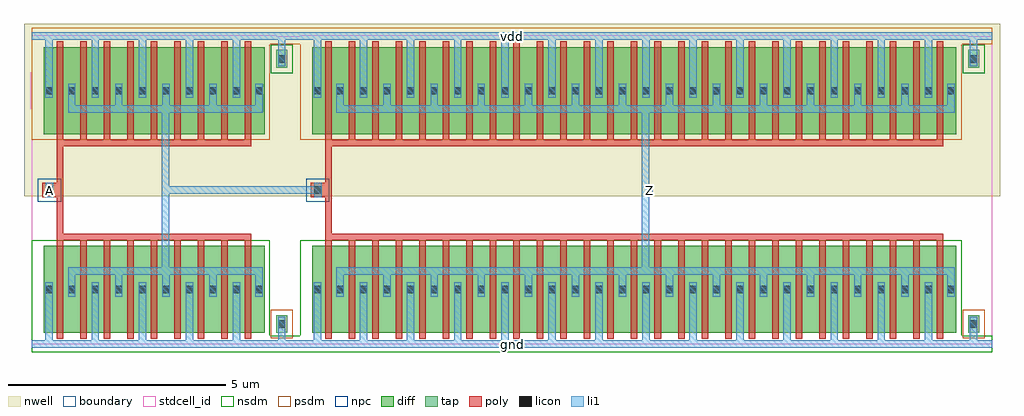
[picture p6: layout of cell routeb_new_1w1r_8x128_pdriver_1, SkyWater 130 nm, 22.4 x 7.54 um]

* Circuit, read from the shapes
.subckt routeb_new_1w1r_8x128_pdriver_1 A Z gnd vdd
XM1 routeb_new_1w1r_8x128_pinv_8_1/A A gnd gnd sky130_fd_pr__nfet_01v8 w=2 l=0.15 m=9
XM2 Z routeb_new_1w1r_8x128_pinv_8_1/A gnd gnd sky130_fd_pr__nfet_01v8 w=2 l=0.15 m=27
XM3 routeb_new_1w1r_8x128_pinv_8_1/A A vdd vdd sky130_fd_pr__pfet_01v8 w=2 l=0.15 m=9
XM4 Z routeb_new_1w1r_8x128_pinv_8_1/A vdd vdd sky130_fd_pr__pfet_01v8 w=2 l=0.15 m=27
.ends

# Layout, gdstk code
import gdstk
lib = gdstk.Library(unit=1e-6, precision=1e-09)
def R(c, l, rs):  # rectangles x0, y0, x1, y1
    for r in rs: c.add(gdstk.rectangle(r[:2], r[2:], *l))
def A(c, l, x, y, w, h, nx, ny, dx, dy):  # array of equal rectangles
    R(c, l, [(x+i*dx, y+j*dy, x+i*dx+w, y+j*dy+h) for i in range(nx) for j in range(ny)])
nwell = (64, 20)
diff = (65, 20)
tap = (65, 44)
poly = (66, 20)
licon = (66, 44)
li1 = (67, 20)
stdcell_id = (81, 4)
nsdm = (93, 44)
psdm = (94, 20)
npc = (95, 20)
boundary = (235, 4)

routeb_new_1w1r_8x128_co = lib.new_cell('routeb_new_1w1r_8x128_contact_11')
R(routeb_new_1w1r_8x128_co, nwell, [(-0.295,-0.255,0.545,0.585)])
R(routeb_new_1w1r_8x128_co, diff, [(0,0.02,0.25,0.31)])
R(routeb_new_1w1r_8x128_co, licon, [(0.04,0.08,0.21,0.25)])
R(routeb_new_1w1r_8x128_co, li1, [(0.04,0,0.21,0.33)])
R(routeb_new_1w1r_8x128_co, stdcell_id, [(-0.295,-0.255,0.545,0.585)])
R(routeb_new_1w1r_8x128_co, psdm, [(-0.125,-0.105,0.375,0.435)])
R(routeb_new_1w1r_8x128_co, boundary, [(-0.295,-0.255,0.545,0.585)])

routeb_new_1w1r_8x128_pm = lib.new_cell('routeb_new_1w1r_8x128_pmos_m9_w2_000_sli_dli_da_p')
R(routeb_new_1w1r_8x128_pm, nwell, [(-0.27,-0.27,5.34,2.27)])
R(routeb_new_1w1r_8x128_pm, diff, [(0,0,5.07,2)])
A(routeb_new_1w1r_8x128_pm, poly, 0.3, -0.13, 0.15, 2.26, 9, 1, 0.54, 0)
R(routeb_new_1w1r_8x128_pm, poly, [(0.3,-0.28,4.77,-0.13)])
A(routeb_new_1w1r_8x128_pm, li1, 0.56, 0.58, 0.17, 0.42, 4, 1, 1.08, 0)
A(routeb_new_1w1r_8x128_pm, li1, 1.1, 0.835, 0.17, 0.33, 4, 1, 1.08, 0)
R(routeb_new_1w1r_8x128_pm, li1, [(0.56,0.495,5.03,0.665), (4.86,0.58,5.03,1), (0.04,0.835,0.21,1.165)])
R(routeb_new_1w1r_8x128_pm, stdcell_id, [(-0.27,-0.28,5.34,2.27)])
R(routeb_new_1w1r_8x128_pm, psdm, [(-0.125,-0.125,5.195,2.125)])
R(routeb_new_1w1r_8x128_pm, boundary, [(-0.27,-0.28,5.34,2.27)])
routeb_new_1w1r_8x128_pm.add(gdstk.Reference(routeb_new_1w1r_8x128_co, (0,0.835)))
routeb_new_1w1r_8x128_pm.add(gdstk.Reference(routeb_new_1w1r_8x128_co, (0.52,0.835)))
routeb_new_1w1r_8x128_pm.add(gdstk.Reference(routeb_new_1w1r_8x128_co, (1.06,0.835)))
routeb_new_1w1r_8x128_pm.add(gdstk.Reference(routeb_new_1w1r_8x128_co, (1.6,0.835)))
routeb_new_1w1r_8x128_pm.add(gdstk.Reference(routeb_new_1w1r_8x128_co, (2.14,0.835)))
routeb_new_1w1r_8x128_pm.add(gdstk.Reference(routeb_new_1w1r_8x128_co, (2.68,0.835)))
routeb_new_1w1r_8x128_pm.add(gdstk.Reference(routeb_new_1w1r_8x128_co, (3.22,0.835)))
routeb_new_1w1r_8x128_pm.add(gdstk.Reference(routeb_new_1w1r_8x128_co, (3.76,0.835)))
routeb_new_1w1r_8x128_pm.add(gdstk.Reference(routeb_new_1w1r_8x128_co, (4.3,0.835)))
routeb_new_1w1r_8x128_pm.add(gdstk.Reference(routeb_new_1w1r_8x128_co, (4.82,0.835)))
routeb_new_1w1r_8x128_pm.add(gdstk.Label('G', (2.535,-0.205), layer=66, texttype=5))
routeb_new_1w1r_8x128_pm.add(gdstk.Label('S', (0.125,1), layer=67, texttype=5))
routeb_new_1w1r_8x128_pm.add(gdstk.Label('S', (2.265,1), layer=67, texttype=5))
routeb_new_1w1r_8x128_pm.add(gdstk.Label('S', (3.345,1), layer=67, texttype=5))
routeb_new_1w1r_8x128_pm.add(gdstk.Label('S', (1.185,1), layer=67, texttype=5))
routeb_new_1w1r_8x128_pm.add(gdstk.Label('S', (4.425,1), layer=67, texttype=5))
routeb_new_1w1r_8x128_pm.add(gdstk.Label('D', (2.795,0.58), layer=67, texttype=5))

c_routeb_new_1w1r_8x128_co = lib.new_cell('routeb_new_1w1r_8x128_contact_10')
R(c_routeb_new_1w1r_8x128_co, diff, [(0,0.02,0.25,0.31)])
R(c_routeb_new_1w1r_8x128_co, licon, [(0.04,0.08,0.21,0.25)])
R(c_routeb_new_1w1r_8x128_co, li1, [(0.04,0,0.21,0.33)])
R(c_routeb_new_1w1r_8x128_co, stdcell_id, [(-0.125,-0.105,0.375,0.435)])
R(c_routeb_new_1w1r_8x128_co, nsdm, [(-0.125,-0.105,0.375,0.435)])
R(c_routeb_new_1w1r_8x128_co, boundary, [(-0.125,-0.105,0.375,0.435)])

routeb_new_1w1r_8x128_nm = lib.new_cell('routeb_new_1w1r_8x128_nmos_m9_w2_000_sli_dli_da_p')
R(routeb_new_1w1r_8x128_nm, diff, [(0,0,5.07,2)])
A(routeb_new_1w1r_8x128_nm, poly, 0.3, -0.13, 0.15, 2.26, 9, 1, 0.54, 0)
R(routeb_new_1w1r_8x128_nm, poly, [(0.3,2.13,4.77,2.28)])
A(routeb_new_1w1r_8x128_nm, li1, 1.1, 0.835, 0.17, 0.33, 4, 1, 1.08, 0)
A(routeb_new_1w1r_8x128_nm, li1, 0.56, 1, 0.17, 0.42, 4, 1, 1.08, 0)
R(routeb_new_1w1r_8x128_nm, li1, [(0.04,0.835,0.21,1.165), (4.86,1,5.03,1.42), (0.56,1.335,5.03,1.505)])
R(routeb_new_1w1r_8x128_nm, stdcell_id, [(-0.125,-0.13,5.195,2.28)])
R(routeb_new_1w1r_8x128_nm, nsdm, [(-0.125,-0.125,5.195,2.125)])
R(routeb_new_1w1r_8x128_nm, boundary, [(-0.125,-0.13,5.195,2.28)])
routeb_new_1w1r_8x128_nm.add(gdstk.Reference(c_routeb_new_1w1r_8x128_co, (0,0.835)))
routeb_new_1w1r_8x128_nm.add(gdstk.Reference(c_routeb_new_1w1r_8x128_co, (0.52,0.835)))
routeb_new_1w1r_8x128_nm.add(gdstk.Reference(c_routeb_new_1w1r_8x128_co, (1.06,0.835)))
routeb_new_1w1r_8x128_nm.add(gdstk.Reference(c_routeb_new_1w1r_8x128_co, (1.6,0.835)))
routeb_new_1w1r_8x128_nm.add(gdstk.Reference(c_routeb_new_1w1r_8x128_co, (2.14,0.835)))
routeb_new_1w1r_8x128_nm.add(gdstk.Reference(c_routeb_new_1w1r_8x128_co, (2.68,0.835)))
routeb_new_1w1r_8x128_nm.add(gdstk.Reference(c_routeb_new_1w1r_8x128_co, (3.22,0.835)))
routeb_new_1w1r_8x128_nm.add(gdstk.Reference(c_routeb_new_1w1r_8x128_co, (3.76,0.835)))
routeb_new_1w1r_8x128_nm.add(gdstk.Reference(c_routeb_new_1w1r_8x128_co, (4.3,0.835)))
routeb_new_1w1r_8x128_nm.add(gdstk.Reference(c_routeb_new_1w1r_8x128_co, (4.82,0.835)))
routeb_new_1w1r_8x128_nm.add(gdstk.Label('G', (2.535,2.205), layer=66, texttype=5))
routeb_new_1w1r_8x128_nm.add(gdstk.Label('S', (0.125,1), layer=67, texttype=5))
routeb_new_1w1r_8x128_nm.add(gdstk.Label('S', (2.265,1), layer=67, texttype=5))
routeb_new_1w1r_8x128_nm.add(gdstk.Label('S', (3.345,1), layer=67, texttype=5))
routeb_new_1w1r_8x128_nm.add(gdstk.Label('S', (1.185,1), layer=67, texttype=5))
routeb_new_1w1r_8x128_nm.add(gdstk.Label('S', (4.425,1), layer=67, texttype=5))
routeb_new_1w1r_8x128_nm.add(gdstk.Label('D', (2.795,1.42), layer=67, texttype=5))

c_routeb_new_1w1r_8x128_co_ = lib.new_cell('routeb_new_1w1r_8x128_contact_24')
R(c_routeb_new_1w1r_8x128_co_, nwell, [(-0.295,-0.215,0.545,0.625)])
R(c_routeb_new_1w1r_8x128_co_, tap, [(0,0,0.25,0.41)])
R(c_routeb_new_1w1r_8x128_co_, licon, [(0.04,0.12,0.21,0.29)])
R(c_routeb_new_1w1r_8x128_co_, li1, [(0.04,0.04,0.21,0.37)])
R(c_routeb_new_1w1r_8x128_co_, stdcell_id, [(-0.295,-0.215,0.545,0.625)])
R(c_routeb_new_1w1r_8x128_co_, nsdm, [(-0.125,-0.125,0.375,0.535)])
R(c_routeb_new_1w1r_8x128_co_, boundary, [(-0.295,-0.215,0.545,0.625)])

c_routeb_new_1w1r_8x128_co__ = lib.new_cell('routeb_new_1w1r_8x128_contact_25')
R(c_routeb_new_1w1r_8x128_co__, tap, [(0,0,0.25,0.41)])
R(c_routeb_new_1w1r_8x128_co__, licon, [(0.04,0.12,0.21,0.29)])
R(c_routeb_new_1w1r_8x128_co__, li1, [(0.04,0.04,0.21,0.37)])
R(c_routeb_new_1w1r_8x128_co__, stdcell_id, [(-0.125,-0.125,0.375,0.535)])
R(c_routeb_new_1w1r_8x128_co__, psdm, [(-0.125,-0.125,0.375,0.535)])
R(c_routeb_new_1w1r_8x128_co__, boundary, [(-0.125,-0.125,0.375,0.535)])

c_routeb_new_1w1r_8x128_co___ = lib.new_cell('routeb_new_1w1r_8x128_contact_15')
R(c_routeb_new_1w1r_8x128_co___, poly, [(0,0,0.33,0.33)])
R(c_routeb_new_1w1r_8x128_co___, licon, [(0.08,0.08,0.25,0.25)])
R(c_routeb_new_1w1r_8x128_co___, li1, [(0.08,0,0.25,0.33)])
R(c_routeb_new_1w1r_8x128_co___, stdcell_id, [(-0.1,-0.1,0.43,0.43)])
R(c_routeb_new_1w1r_8x128_co___, npc, [(-0.1,-0.1,0.43,0.43)])
R(c_routeb_new_1w1r_8x128_co___, boundary, [(-0.1,-0.1,0.43,0.43)])

routeb_new_1w1r_8x128_pi = lib.new_cell('routeb_new_1w1r_8x128_pinv_7')
R(routeb_new_1w1r_8x128_pi, nwell, [(-0.18,3.395,6.34,7.355)])
R(routeb_new_1w1r_8x128_pi, poly, [(0.57,2.535,0.72,4.535), (0.405,3.37,0.57,3.7)])
A(routeb_new_1w1r_8x128_pi, li1, 1.37, -0.085, 0.17, 1.175, 4, 1, 1.08, 0)
A(routeb_new_1w1r_8x128_pi, li1, 1.37, 5.65, 0.17, 1.505, 4, 1, 1.08, 0)
R(routeb_new_1w1r_8x128_pi, li1, [(0,-0.085,6.16,0.085), (0.31,-0.085,0.48,1.09), (5.65,0,5.82,0.46), (2.98,1.59,3.15,5.48), (0.32,3.37,0.49,3.7), (3.065,3.45,3.235,3.62), (0.31,5.65,0.48,7.155), (5.65,6.545,5.82,7.07), (0,6.985,6.16,7.155)])
R(routeb_new_1w1r_8x128_pi, stdcell_id, [(0,0,6.16,7.07), (0,0,6.16,7.07)])
R(routeb_new_1w1r_8x128_pi, nsdm, [(0,-0.19,6.16,0.19), (0,0,5.465,2.38)])
R(routeb_new_1w1r_8x128_pi, psdm, [(0,4.69,5.465,7.07), (0,6.88,6.16,7.26)])
R(routeb_new_1w1r_8x128_pi, boundary, [(0,0,6.16,7.07), (0,0,6.16,7.07)])
routeb_new_1w1r_8x128_pi.add(gdstk.Reference(routeb_new_1w1r_8x128_pm, (0.27,4.815)))
routeb_new_1w1r_8x128_pi.add(gdstk.Reference(routeb_new_1w1r_8x128_nm, (0.27,0.255)))
routeb_new_1w1r_8x128_pi.add(gdstk.Reference(c_routeb_new_1w1r_8x128_co_, (5.61,6.34)))
routeb_new_1w1r_8x128_pi.add(gdstk.Reference(c_routeb_new_1w1r_8x128_co__, (5.61,0.255)))
routeb_new_1w1r_8x128_pi.add(gdstk.Reference(c_routeb_new_1w1r_8x128_co___, (0.24,3.37)))
routeb_new_1w1r_8x128_pi.add(gdstk.Label('A', (0.405,3.535), layer=67, texttype=5))
routeb_new_1w1r_8x128_pi.add(gdstk.Label('Z', (3.15,3.535), layer=67, texttype=5))
routeb_new_1w1r_8x128_pi.add(gdstk.Label('gnd', (3.08,0), layer=67, texttype=5))
routeb_new_1w1r_8x128_pi.add(gdstk.Label('vdd', (3.08,7.07), layer=67, texttype=5))

c_routeb_new_1w1r_8x128_pm = lib.new_cell('routeb_new_1w1r_8x128_pmos_m27_w2_000_sli_dli_da_p')
R(c_routeb_new_1w1r_8x128_pm, nwell, [(-0.27,-0.27,15.06,2.27)])
R(c_routeb_new_1w1r_8x128_pm, diff, [(0,0,14.79,2)])
A(c_routeb_new_1w1r_8x128_pm, poly, 0.3, -0.13, 0.15, 2.26, 27, 1, 0.54, 0)
R(c_routeb_new_1w1r_8x128_pm, poly, [(0.3,-0.28,14.49,-0.13)])
A(c_routeb_new_1w1r_8x128_pm, li1, 0.56, 0.58, 0.17, 0.42, 13, 1, 1.08, 0)
A(c_routeb_new_1w1r_8x128_pm, li1, 1.1, 0.835, 0.17, 0.33, 13, 1, 1.08, 0)
R(c_routeb_new_1w1r_8x128_pm, li1, [(0.56,0.495,14.75,0.665), (14.58,0.58,14.75,1), (0.04,0.835,0.21,1.165)])
R(c_routeb_new_1w1r_8x128_pm, stdcell_id, [(-0.27,-0.28,15.06,2.27)])
R(c_routeb_new_1w1r_8x128_pm, psdm, [(-0.125,-0.125,14.915,2.125)])
R(c_routeb_new_1w1r_8x128_pm, boundary, [(-0.27,-0.28,15.06,2.27)])
c_routeb_new_1w1r_8x128_pm.add(gdstk.Reference(routeb_new_1w1r_8x128_co, (0,0.835)))
c_routeb_new_1w1r_8x128_pm.add(gdstk.Reference(routeb_new_1w1r_8x128_co, (0.52,0.835)))
c_routeb_new_1w1r_8x128_pm.add(gdstk.Reference(routeb_new_1w1r_8x128_co, (1.06,0.835)))
c_routeb_new_1w1r_8x128_pm.add(gdstk.Reference(routeb_new_1w1r_8x128_co, (1.6,0.835)))
c_routeb_new_1w1r_8x128_pm.add(gdstk.Reference(routeb_new_1w1r_8x128_co, (2.14,0.835)))
c_routeb_new_1w1r_8x128_pm.add(gdstk.Reference(routeb_new_1w1r_8x128_co, (2.68,0.835)))
c_routeb_new_1w1r_8x128_pm.add(gdstk.Reference(routeb_new_1w1r_8x128_co, (3.22,0.835)))
c_routeb_new_1w1r_8x128_pm.add(gdstk.Reference(routeb_new_1w1r_8x128_co, (3.76,0.835)))
c_routeb_new_1w1r_8x128_pm.add(gdstk.Reference(routeb_new_1w1r_8x128_co, (4.3,0.835)))
c_routeb_new_1w1r_8x128_pm.add(gdstk.Reference(routeb_new_1w1r_8x128_co, (4.84,0.835)))
c_routeb_new_1w1r_8x128_pm.add(gdstk.Reference(routeb_new_1w1r_8x128_co, (5.38,0.835)))
c_routeb_new_1w1r_8x128_pm.add(gdstk.Reference(routeb_new_1w1r_8x128_co, (5.92,0.835)))
c_routeb_new_1w1r_8x128_pm.add(gdstk.Reference(routeb_new_1w1r_8x128_co, (6.46,0.835)))
c_routeb_new_1w1r_8x128_pm.add(gdstk.Reference(routeb_new_1w1r_8x128_co, (7,0.835)))
c_routeb_new_1w1r_8x128_pm.add(gdstk.Reference(routeb_new_1w1r_8x128_co, (7.54,0.835)))
c_routeb_new_1w1r_8x128_pm.add(gdstk.Reference(routeb_new_1w1r_8x128_co, (8.08,0.835)))
c_routeb_new_1w1r_8x128_pm.add(gdstk.Reference(routeb_new_1w1r_8x128_co, (8.62,0.835)))
c_routeb_new_1w1r_8x128_pm.add(gdstk.Reference(routeb_new_1w1r_8x128_co, (9.16,0.835)))
c_routeb_new_1w1r_8x128_pm.add(gdstk.Reference(routeb_new_1w1r_8x128_co, (9.7,0.835)))
c_routeb_new_1w1r_8x128_pm.add(gdstk.Reference(routeb_new_1w1r_8x128_co, (10.24,0.835)))
c_routeb_new_1w1r_8x128_pm.add(gdstk.Reference(routeb_new_1w1r_8x128_co, (10.78,0.835)))
c_routeb_new_1w1r_8x128_pm.add(gdstk.Reference(routeb_new_1w1r_8x128_co, (11.32,0.835)))
c_routeb_new_1w1r_8x128_pm.add(gdstk.Reference(routeb_new_1w1r_8x128_co, (11.86,0.835)))
c_routeb_new_1w1r_8x128_pm.add(gdstk.Reference(routeb_new_1w1r_8x128_co, (12.4,0.835)))
c_routeb_new_1w1r_8x128_pm.add(gdstk.Reference(routeb_new_1w1r_8x128_co, (12.94,0.835)))
c_routeb_new_1w1r_8x128_pm.add(gdstk.Reference(routeb_new_1w1r_8x128_co, (13.48,0.835)))
c_routeb_new_1w1r_8x128_pm.add(gdstk.Reference(routeb_new_1w1r_8x128_co, (14.02,0.835)))
c_routeb_new_1w1r_8x128_pm.add(gdstk.Reference(routeb_new_1w1r_8x128_co, (14.54,0.835)))
c_routeb_new_1w1r_8x128_pm.add(gdstk.Label('G', (7.395,-0.205), layer=66, texttype=5))
c_routeb_new_1w1r_8x128_pm.add(gdstk.Label('S', (0.125,1), layer=67, texttype=5))
c_routeb_new_1w1r_8x128_pm.add(gdstk.Label('S', (13.065,1), layer=67, texttype=5))
c_routeb_new_1w1r_8x128_pm.add(gdstk.Label('S', (2.265,1), layer=67, texttype=5))
c_routeb_new_1w1r_8x128_pm.add(gdstk.Label('S', (5.505,1), layer=67, texttype=5))
c_routeb_new_1w1r_8x128_pm.add(gdstk.Label('S', (7.665,1), layer=67, texttype=5))
c_routeb_new_1w1r_8x128_pm.add(gdstk.Label('S', (9.825,1), layer=67, texttype=5))
c_routeb_new_1w1r_8x128_pm.add(gdstk.Label('S', (6.585,1), layer=67, texttype=5))
c_routeb_new_1w1r_8x128_pm.add(gdstk.Label('S', (10.905,1), layer=67, texttype=5))
c_routeb_new_1w1r_8x128_pm.add(gdstk.Label('S', (14.145,1), layer=67, texttype=5))
c_routeb_new_1w1r_8x128_pm.add(gdstk.Label('S', (8.745,1), layer=67, texttype=5))
c_routeb_new_1w1r_8x128_pm.add(gdstk.Label('S', (3.345,1), layer=67, texttype=5))
c_routeb_new_1w1r_8x128_pm.add(gdstk.Label('S', (11.985,1), layer=67, texttype=5))
c_routeb_new_1w1r_8x128_pm.add(gdstk.Label('S', (1.185,1), layer=67, texttype=5))
c_routeb_new_1w1r_8x128_pm.add(gdstk.Label('S', (4.425,1), layer=67, texttype=5))
c_routeb_new_1w1r_8x128_pm.add(gdstk.Label('D', (7.655,0.58), layer=67, texttype=5))

c_routeb_new_1w1r_8x128_nm = lib.new_cell('routeb_new_1w1r_8x128_nmos_m27_w2_000_sli_dli_da_p')
R(c_routeb_new_1w1r_8x128_nm, diff, [(0,0,14.79,2)])
A(c_routeb_new_1w1r_8x128_nm, poly, 0.3, -0.13, 0.15, 2.26, 27, 1, 0.54, 0)
R(c_routeb_new_1w1r_8x128_nm, poly, [(0.3,2.13,14.49,2.28)])
A(c_routeb_new_1w1r_8x128_nm, li1, 1.1, 0.835, 0.17, 0.33, 13, 1, 1.08, 0)
A(c_routeb_new_1w1r_8x128_nm, li1, 0.56, 1, 0.17, 0.42, 13, 1, 1.08, 0)
R(c_routeb_new_1w1r_8x128_nm, li1, [(0.04,0.835,0.21,1.165), (14.58,1,14.75,1.42), (0.56,1.335,14.75,1.505)])
R(c_routeb_new_1w1r_8x128_nm, stdcell_id, [(-0.125,-0.13,14.915,2.28)])
R(c_routeb_new_1w1r_8x128_nm, nsdm, [(-0.125,-0.125,14.915,2.125)])
R(c_routeb_new_1w1r_8x128_nm, boundary, [(-0.125,-0.13,14.915,2.28)])
c_routeb_new_1w1r_8x128_nm.add(gdstk.Reference(c_routeb_new_1w1r_8x128_co, (0,0.835)))
c_routeb_new_1w1r_8x128_nm.add(gdstk.Reference(c_routeb_new_1w1r_8x128_co, (0.52,0.835)))
c_routeb_new_1w1r_8x128_nm.add(gdstk.Reference(c_routeb_new_1w1r_8x128_co, (1.06,0.835)))
c_routeb_new_1w1r_8x128_nm.add(gdstk.Reference(c_routeb_new_1w1r_8x128_co, (1.6,0.835)))
c_routeb_new_1w1r_8x128_nm.add(gdstk.Reference(c_routeb_new_1w1r_8x128_co, (2.14,0.835)))
c_routeb_new_1w1r_8x128_nm.add(gdstk.Reference(c_routeb_new_1w1r_8x128_co, (2.68,0.835)))
c_routeb_new_1w1r_8x128_nm.add(gdstk.Reference(c_routeb_new_1w1r_8x128_co, (3.22,0.835)))
c_routeb_new_1w1r_8x128_nm.add(gdstk.Reference(c_routeb_new_1w1r_8x128_co, (3.76,0.835)))
c_routeb_new_1w1r_8x128_nm.add(gdstk.Reference(c_routeb_new_1w1r_8x128_co, (4.3,0.835)))
c_routeb_new_1w1r_8x128_nm.add(gdstk.Reference(c_routeb_new_1w1r_8x128_co, (4.84,0.835)))
c_routeb_new_1w1r_8x128_nm.add(gdstk.Reference(c_routeb_new_1w1r_8x128_co, (5.38,0.835)))
c_routeb_new_1w1r_8x128_nm.add(gdstk.Reference(c_routeb_new_1w1r_8x128_co, (5.92,0.835)))
c_routeb_new_1w1r_8x128_nm.add(gdstk.Reference(c_routeb_new_1w1r_8x128_co, (6.46,0.835)))
c_routeb_new_1w1r_8x128_nm.add(gdstk.Reference(c_routeb_new_1w1r_8x128_co, (7,0.835)))
c_routeb_new_1w1r_8x128_nm.add(gdstk.Reference(c_routeb_new_1w1r_8x128_co, (7.54,0.835)))
c_routeb_new_1w1r_8x128_nm.add(gdstk.Reference(c_routeb_new_1w1r_8x128_co, (8.08,0.835)))
c_routeb_new_1w1r_8x128_nm.add(gdstk.Reference(c_routeb_new_1w1r_8x128_co, (8.62,0.835)))
c_routeb_new_1w1r_8x128_nm.add(gdstk.Reference(c_routeb_new_1w1r_8x128_co, (9.16,0.835)))
c_routeb_new_1w1r_8x128_nm.add(gdstk.Reference(c_routeb_new_1w1r_8x128_co, (9.7,0.835)))
c_routeb_new_1w1r_8x128_nm.add(gdstk.Reference(c_routeb_new_1w1r_8x128_co, (10.24,0.835)))
c_routeb_new_1w1r_8x128_nm.add(gdstk.Reference(c_routeb_new_1w1r_8x128_co, (10.78,0.835)))
c_routeb_new_1w1r_8x128_nm.add(gdstk.Reference(c_routeb_new_1w1r_8x128_co, (11.32,0.835)))
c_routeb_new_1w1r_8x128_nm.add(gdstk.Reference(c_routeb_new_1w1r_8x128_co, (11.86,0.835)))
c_routeb_new_1w1r_8x128_nm.add(gdstk.Reference(c_routeb_new_1w1r_8x128_co, (12.4,0.835)))
c_routeb_new_1w1r_8x128_nm.add(gdstk.Reference(c_routeb_new_1w1r_8x128_co, (12.94,0.835)))
c_routeb_new_1w1r_8x128_nm.add(gdstk.Reference(c_routeb_new_1w1r_8x128_co, (13.48,0.835)))
c_routeb_new_1w1r_8x128_nm.add(gdstk.Reference(c_routeb_new_1w1r_8x128_co, (14.02,0.835)))
c_routeb_new_1w1r_8x128_nm.add(gdstk.Reference(c_routeb_new_1w1r_8x128_co, (14.54,0.835)))
c_routeb_new_1w1r_8x128_nm.add(gdstk.Label('G', (7.395,2.205), layer=66, texttype=5))
c_routeb_new_1w1r_8x128_nm.add(gdstk.Label('S', (0.125,1), layer=67, texttype=5))
c_routeb_new_1w1r_8x128_nm.add(gdstk.Label('S', (13.065,1), layer=67, texttype=5))
c_routeb_new_1w1r_8x128_nm.add(gdstk.Label('S', (2.265,1), layer=67, texttype=5))
c_routeb_new_1w1r_8x128_nm.add(gdstk.Label('S', (5.505,1), layer=67, texttype=5))
c_routeb_new_1w1r_8x128_nm.add(gdstk.Label('S', (7.665,1), layer=67, texttype=5))
c_routeb_new_1w1r_8x128_nm.add(gdstk.Label('S', (9.825,1), layer=67, texttype=5))
c_routeb_new_1w1r_8x128_nm.add(gdstk.Label('S', (6.585,1), layer=67, texttype=5))
c_routeb_new_1w1r_8x128_nm.add(gdstk.Label('S', (10.905,1), layer=67, texttype=5))
c_routeb_new_1w1r_8x128_nm.add(gdstk.Label('S', (14.145,1), layer=67, texttype=5))
c_routeb_new_1w1r_8x128_nm.add(gdstk.Label('S', (8.745,1), layer=67, texttype=5))
c_routeb_new_1w1r_8x128_nm.add(gdstk.Label('S', (3.345,1), layer=67, texttype=5))
c_routeb_new_1w1r_8x128_nm.add(gdstk.Label('S', (11.985,1), layer=67, texttype=5))
c_routeb_new_1w1r_8x128_nm.add(gdstk.Label('S', (1.185,1), layer=67, texttype=5))
c_routeb_new_1w1r_8x128_nm.add(gdstk.Label('S', (4.425,1), layer=67, texttype=5))
c_routeb_new_1w1r_8x128_nm.add(gdstk.Label('D', (7.655,1.42), layer=67, texttype=5))

c_routeb_new_1w1r_8x128_pi = lib.new_cell('routeb_new_1w1r_8x128_pinv_8')
R(c_routeb_new_1w1r_8x128_pi, nwell, [(-0.18,3.395,16.06,7.355)])
R(c_routeb_new_1w1r_8x128_pi, poly, [(0.57,2.535,0.72,4.535), (0.405,3.37,0.57,3.7)])
A(c_routeb_new_1w1r_8x128_pi, li1, 1.37, -0.085, 0.17, 1.175, 13, 1, 1.08, 0)
A(c_routeb_new_1w1r_8x128_pi, li1, 1.37, 5.65, 0.17, 1.505, 13, 1, 1.08, 0)
R(c_routeb_new_1w1r_8x128_pi, li1, [(0,-0.085,15.88,0.085), (0.31,-0.085,0.48,1.09), (15.37,0,15.54,0.46), (7.84,1.59,8.01,5.48), (0.32,3.37,0.49,3.7), (7.925,3.45,8.095,3.62), (0.31,5.65,0.48,7.155), (15.37,6.545,15.54,7.07), (0,6.985,15.88,7.155)])
R(c_routeb_new_1w1r_8x128_pi, stdcell_id, [(0,0,15.88,7.07), (0,0,15.88,7.07)])
R(c_routeb_new_1w1r_8x128_pi, nsdm, [(0,-0.19,15.88,0.19), (0,0,15.185,2.38)])
R(c_routeb_new_1w1r_8x128_pi, psdm, [(0,4.69,15.185,7.07), (0,6.88,15.88,7.26)])
R(c_routeb_new_1w1r_8x128_pi, boundary, [(0,0,15.88,7.07), (0,0,15.88,7.07)])
c_routeb_new_1w1r_8x128_pi.add(gdstk.Reference(c_routeb_new_1w1r_8x128_pm, (0.27,4.815)))
c_routeb_new_1w1r_8x128_pi.add(gdstk.Reference(c_routeb_new_1w1r_8x128_nm, (0.27,0.255)))
c_routeb_new_1w1r_8x128_pi.add(gdstk.Reference(c_routeb_new_1w1r_8x128_co_, (15.33,6.34)))
c_routeb_new_1w1r_8x128_pi.add(gdstk.Reference(c_routeb_new_1w1r_8x128_co__, (15.33,0.255)))
c_routeb_new_1w1r_8x128_pi.add(gdstk.Reference(c_routeb_new_1w1r_8x128_co___, (0.24,3.37)))
c_routeb_new_1w1r_8x128_pi.add(gdstk.Label('A', (0.405,3.535), layer=67, texttype=5))
c_routeb_new_1w1r_8x128_pi.add(gdstk.Label('Z', (8.01,3.535), layer=67, texttype=5))
c_routeb_new_1w1r_8x128_pi.add(gdstk.Label('gnd', (7.94,0), layer=67, texttype=5))
c_routeb_new_1w1r_8x128_pi.add(gdstk.Label('vdd', (7.94,7.07), layer=67, texttype=5))

routeb_new_1w1r_8x128_pd = lib.new_cell('routeb_new_1w1r_8x128_pdriver_1')
R(routeb_new_1w1r_8x128_pd, nwell, [(-0.18,3.395,22.22,7.355)])
R(routeb_new_1w1r_8x128_pd, li1, [(0,-0.085,22.04,0.085), (0.32,3.37,0.49,3.7), (3.15,3.45,6.565,3.62), (14.085,3.45,14.255,3.62), (0,6.985,22.04,7.155)])
R(routeb_new_1w1r_8x128_pd, stdcell_id, [(0,0,22.04,7.07), (0,0,22.04,7.07)])
R(routeb_new_1w1r_8x128_pd, nsdm, [(0,-0.19,22.04,0.19)])
R(routeb_new_1w1r_8x128_pd, psdm, [(0,6.88,22.04,7.26)])
R(routeb_new_1w1r_8x128_pd, boundary, [(0,0,22.04,7.07), (0,0,22.04,7.07)])
routeb_new_1w1r_8x128_pd.add(gdstk.Reference(routeb_new_1w1r_8x128_pi, (0,0)))
routeb_new_1w1r_8x128_pd.add(gdstk.Reference(c_routeb_new_1w1r_8x128_pi, (6.16,0)))
routeb_new_1w1r_8x128_pd.add(gdstk.Label('Z', (14.17,3.535), layer=67, texttype=5))
routeb_new_1w1r_8x128_pd.add(gdstk.Label('A', (0.405,3.535), layer=67, texttype=5))
routeb_new_1w1r_8x128_pd.add(gdstk.Label('gnd', (11.02,0), layer=67, texttype=5))
routeb_new_1w1r_8x128_pd.add(gdstk.Label('vdd', (11.02,7.07), layer=67, texttype=5))

lib.write_gds('routeb_new_1w1r_8x128_pdriver_1.gds')
